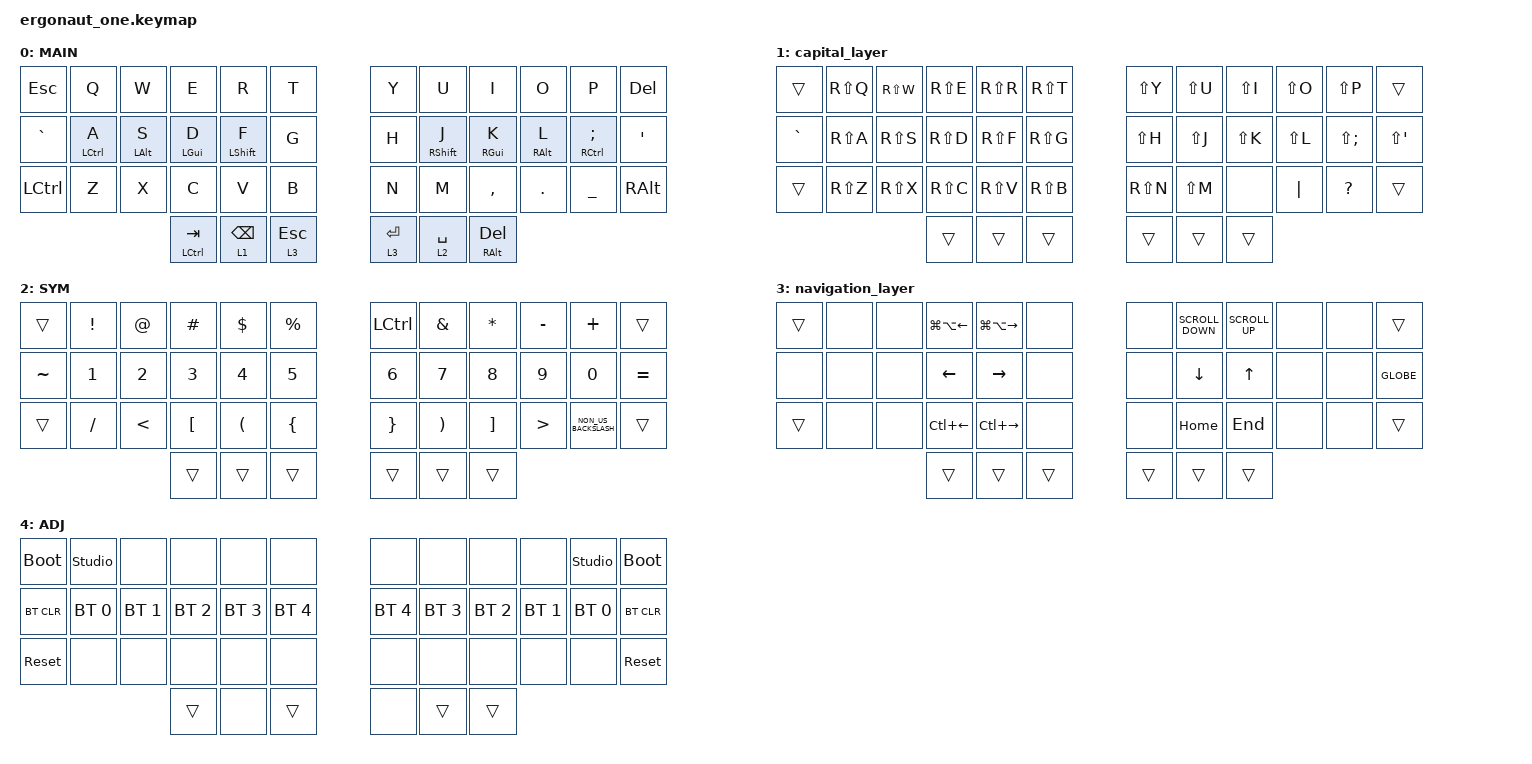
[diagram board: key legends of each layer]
#include <behaviors.dtsi>
#include <dt-bindings/zmk/bt.h>
#include <dt-bindings/zmk/keys.h>

#define DEF 0
#define LWR 1
#define RSE 2
#define ADJ 3

&lt { quick-tap-ms = <200>; };

&mt { quick-tap-ms = <200>; };

/ {
    conditional_layers {
        compatible = "zmk,conditional-layers";

        tri-layer {
            if-layers = <2 3>;
            then-layer = <4>;
        };
    };

    combos {
        compatible = "zmk,combos";

        nav_toggle {
            bindings = <&tog 3>;
            key-positions = <19 20 21>;
        };
    };

    keymap {
        compatible = "zmk,keymap";

        default_layer {
            display-name = "MAIN";
            bindings = <
&kp ESCAPE        &kp Q        &kp W           &kp E           &kp R             &kp T         &kp Y        &kp U              &kp I              &kp O            &kp P                   &kp DEL
&kp GRAVE         &mt LCTRL A  &mt LEFT_ALT S  &mt LEFT_GUI D  &mt LEFT_SHIFT F  &kp G         &kp H        &mt RIGHT_SHIFT J  &mt RIGHT_GUI K    &mt RIGHT_ALT L  &mt RIGHT_CONTROL SEMI  &kp SQT
&kp LEFT_CONTROL  &kp Z        &kp X           &kp C           &kp V             &kp B         &kp N        &kp M              &kp COMMA          &kp DOT          &kp UNDERSCORE          &kp RIGHT_ALT
                                               &mt LCTRL TAB   &lt 1 BACKSPACE   &lt 3 ESCAPE  &lt 3 ENTER  &lt 2 SPACE        &mt RIGHT_ALT DEL
            >;
        };

        capital_layer {
            bindings = <
&trans     &kp RS(Q)  &kp RS(W)  &kp RS(E)  &kp RS(R)  &kp RS(T)  &kp LS(Y)  &kp LS(U)  &kp LS(I)  &kp LS(O)  &kp LS(P)     &trans
&kp GRAVE  &kp RS(A)  &kp RS(S)  &kp RS(D)  &kp RS(F)  &kp RS(G)  &kp LS(H)  &kp LS(J)  &kp LS(K)  &kp LS(L)  &kp LS(SEMI)  &kp LS(APOS)
&trans     &kp RS(Z)  &kp RS(X)  &kp RS(C)  &kp RS(V)  &kp RS(B)  &kp RS(N)  &kp LS(M)  &none      &kp PIPE   &kp QUESTION  &trans
                                 &trans     &trans     &trans     &trans     &trans     &trans
            >;
        };

        symbol_layer {
            display-name = "SYM";
            bindings = <
&trans     &kp EXCLAMATION  &kp AT_SIGN    &kp HASH          &kp DOLLAR            &kp PERCENT     &kp LCTRL        &kp AMPERSAND          &kp ASTERISK       &kp MINUS         &kp PLUS              &trans
&kp TILDE  &kp NUMBER_1     &kp NUMBER_2   &kp NUMBER_3      &kp NUMBER_4          &kp N5          &kp NUMBER_6     &kp N7                 &kp N8             &kp N9            &kp N0                &kp EQUAL
&trans     &kp SLASH        &kp LESS_THAN  &kp LEFT_BRACKET  &kp LEFT_PARENTHESIS  &kp LEFT_BRACE  &kp RIGHT_BRACE  &kp RIGHT_PARENTHESIS  &kp RIGHT_BRACKET  &kp GREATER_THAN  &kp NON_US_BACKSLASH  &trans
                                           &trans            &trans                &trans          &trans           &trans                 &trans
            >;
        };

        navigation_layer {
            bindings = <
&trans  &none  &none  &kp LG(LA(LEFT_ARROW))  &kp LG(LA(RIGHT_ARROW))  &none   &none   &kp K_SCROLL_DOWN  &kp K_SCROLL_UP  &none  &none  &trans
&none   &none  &none  &kp LEFT_ARROW          &kp RIGHT_ARROW          &none   &none   &kp DOWN_ARROW     &kp UP_ARROW     &none  &none  &kp GLOBE
&trans  &none  &none  &kp LC(LEFT_ARROW)      &kp LC(RIGHT_ARROW)      &none   &none   &kp HOME           &kp END          &none  &none  &trans
                      &trans                  &trans                   &trans  &trans  &trans             &trans
            >;
        };

        adjust_layer {
            display-name = "ADJ";
            bindings = <
&bootloader  &studio_unlock  &none         &none         &none         &none         &none         &none         &none         &none         &studio_unlock  &bootloader
&bt BT_CLR   &bt BT_SEL 0    &bt BT_SEL 1  &bt BT_SEL 2  &bt BT_SEL 3  &bt BT_SEL 4  &bt BT_SEL 4  &bt BT_SEL 3  &bt BT_SEL 2  &bt BT_SEL 1  &bt BT_SEL 0    &bt BT_CLR
&sys_reset   &none           &none         &none         &none         &none         &none         &none         &none         &none         &none           &sys_reset
                                           &trans        &none         &trans        &none         &trans        &trans
            >;
        };
    };
};
